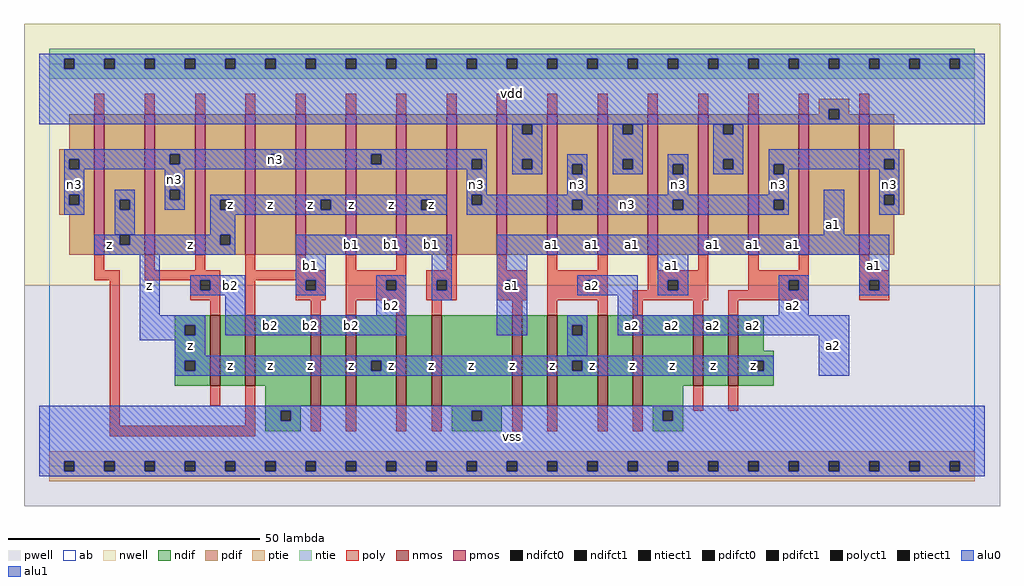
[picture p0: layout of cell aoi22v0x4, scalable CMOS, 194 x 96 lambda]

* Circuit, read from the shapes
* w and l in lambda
.subckt aoi22v0x4 a1 a2 b1 b2 n3 vdd vss z
M1 n1 b2 z vss nfet w=14 l=2
M2 vss b1 n1 vss nfet w=14 l=2
M3 n2 b1 vss vss nfet w=18 l=2
M4 z b2 n2 vss nfet w=18 l=2
M5 n4 b2 z vss nfet w=18 l=2
M6 vss b1 n4 vss nfet w=18 l=2
M7 n5 a1 vss vss nfet w=18 l=2
M8 z a2 n5 vss nfet w=18 l=2
M9 n6 a2 z vss nfet w=18 l=2
M10 vss a1 n6 vss nfet w=18 l=2
M11 n7 a1 vss vss nfet w=14 l=2
M12 z a2 n7 vss nfet w=14 l=2
M13 z b1 n3 vdd pfet w=28 l=2 m=4
M14 n3 b2 z vdd pfet w=28 l=2 m=4
M15 vdd a1 n3 vdd pfet w=28 l=2 m=4
M16 n3 a2 vdd vdd pfet w=28 l=2 m=4
.ends

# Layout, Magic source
magic
tech scmos
<< ab >>
rect 0 0 184 80
<< nwell >>
rect -5 36 189 88
<< pwell >>
rect -5 -8 189 36
<< poly >>
rect 9 70 11 74
rect 19 70 21 74
rect 29 70 31 74
rect 39 70 41 74
rect 49 70 51 74
rect 59 70 61 74
rect 69 70 71 74
rect 79 70 81 74
rect 89 70 91 74
rect 99 70 101 74
rect 109 70 111 74
rect 119 70 121 74
rect 129 70 131 74
rect 139 70 141 74
rect 149 70 151 74
rect 161 70 163 74
rect 9 39 11 42
rect 19 39 21 42
rect 29 39 31 42
rect 39 39 41 42
rect 49 39 51 42
rect 59 39 61 42
rect 69 39 71 42
rect 79 39 81 42
rect 9 37 14 39
rect 19 37 34 39
rect 12 8 14 37
rect 28 35 30 37
rect 32 35 34 37
rect 28 33 34 35
rect 32 30 34 33
rect 39 37 55 39
rect 39 30 41 37
rect 49 35 51 37
rect 53 35 55 37
rect 49 33 55 35
rect 59 37 71 39
rect 59 35 67 37
rect 69 35 71 37
rect 59 33 71 35
rect 75 37 81 39
rect 75 35 77 37
rect 79 35 81 37
rect 75 33 81 35
rect 89 39 91 42
rect 99 39 101 42
rect 109 39 111 42
rect 89 37 95 39
rect 89 35 91 37
rect 93 35 95 37
rect 89 33 95 35
rect 99 37 111 39
rect 99 35 107 37
rect 109 35 111 37
rect 119 39 121 42
rect 129 39 131 42
rect 119 37 131 39
rect 119 35 123 37
rect 125 35 131 37
rect 139 39 141 42
rect 149 39 151 42
rect 139 37 151 39
rect 139 35 147 37
rect 149 35 151 37
rect 99 33 111 35
rect 52 30 54 33
rect 59 30 61 33
rect 69 30 71 33
rect 76 30 78 33
rect 92 30 94 33
rect 99 30 101 33
rect 109 30 111 33
rect 116 33 131 35
rect 135 33 151 35
rect 161 39 163 42
rect 161 37 167 39
rect 161 35 163 37
rect 165 35 167 37
rect 161 33 167 35
rect 116 30 118 33
rect 128 30 130 33
rect 135 30 137 33
rect 32 12 34 16
rect 39 8 41 16
rect 12 6 41 8
rect 52 7 54 12
rect 59 7 61 12
rect 69 7 71 12
rect 76 7 78 12
rect 92 7 94 12
rect 99 7 101 12
rect 109 7 111 12
rect 116 7 118 12
rect 128 11 130 16
rect 135 11 137 16
<< ndif >>
rect 25 28 32 30
rect 25 26 27 28
rect 29 26 32 28
rect 25 21 32 26
rect 25 19 27 21
rect 29 19 32 21
rect 25 16 32 19
rect 34 16 39 30
rect 41 16 52 30
rect 43 12 52 16
rect 54 12 59 30
rect 61 21 69 30
rect 61 19 64 21
rect 66 19 69 21
rect 61 12 69 19
rect 71 12 76 30
rect 78 12 92 30
rect 94 12 99 30
rect 101 28 109 30
rect 101 26 104 28
rect 106 26 109 28
rect 101 21 109 26
rect 101 19 104 21
rect 106 19 109 21
rect 101 12 109 19
rect 111 12 116 30
rect 118 16 128 30
rect 130 16 135 30
rect 137 23 142 30
rect 137 21 144 23
rect 137 19 140 21
rect 142 19 144 21
rect 137 16 144 19
rect 118 12 126 16
rect 43 11 50 12
rect 43 9 46 11
rect 48 9 50 11
rect 43 7 50 9
rect 80 11 90 12
rect 80 9 84 11
rect 86 9 90 11
rect 80 7 90 9
rect 120 11 126 12
rect 120 9 122 11
rect 124 9 126 11
rect 120 7 126 9
<< pdif >>
rect 153 71 159 73
rect 153 70 155 71
rect 4 63 9 70
rect 2 61 9 63
rect 2 59 4 61
rect 6 59 9 61
rect 2 54 9 59
rect 2 52 4 54
rect 6 52 9 54
rect 2 50 9 52
rect 4 42 9 50
rect 11 53 19 70
rect 11 51 14 53
rect 16 51 19 53
rect 11 46 19 51
rect 11 44 14 46
rect 16 44 19 46
rect 11 42 19 44
rect 21 62 29 70
rect 21 60 24 62
rect 26 60 29 62
rect 21 55 29 60
rect 21 53 24 55
rect 26 53 29 55
rect 21 42 29 53
rect 31 53 39 70
rect 31 51 34 53
rect 36 51 39 53
rect 31 46 39 51
rect 31 44 34 46
rect 36 44 39 46
rect 31 42 39 44
rect 41 62 49 70
rect 41 60 44 62
rect 46 60 49 62
rect 41 42 49 60
rect 51 53 59 70
rect 51 51 54 53
rect 56 51 59 53
rect 51 42 59 51
rect 61 62 69 70
rect 61 60 64 62
rect 66 60 69 62
rect 61 42 69 60
rect 71 53 79 70
rect 71 51 74 53
rect 76 51 79 53
rect 71 42 79 51
rect 81 61 89 70
rect 81 59 84 61
rect 86 59 89 61
rect 81 54 89 59
rect 81 52 84 54
rect 86 52 89 54
rect 81 42 89 52
rect 91 68 99 70
rect 91 66 94 68
rect 96 66 99 68
rect 91 61 99 66
rect 91 59 94 61
rect 96 59 99 61
rect 91 42 99 59
rect 101 60 109 70
rect 101 58 104 60
rect 106 58 109 60
rect 101 53 109 58
rect 101 51 104 53
rect 106 51 109 53
rect 101 42 109 51
rect 111 68 119 70
rect 111 66 114 68
rect 116 66 119 68
rect 111 61 119 66
rect 111 59 114 61
rect 116 59 119 61
rect 111 42 119 59
rect 121 60 129 70
rect 121 58 124 60
rect 126 58 129 60
rect 121 53 129 58
rect 121 51 124 53
rect 126 51 129 53
rect 121 42 129 51
rect 131 68 139 70
rect 131 66 134 68
rect 136 66 139 68
rect 131 61 139 66
rect 131 59 134 61
rect 136 59 139 61
rect 131 42 139 59
rect 141 60 149 70
rect 141 58 144 60
rect 146 58 149 60
rect 141 53 149 58
rect 141 51 144 53
rect 146 51 149 53
rect 141 42 149 51
rect 151 69 155 70
rect 157 70 159 71
rect 157 69 161 70
rect 151 42 161 69
rect 163 63 168 70
rect 163 61 170 63
rect 163 59 166 61
rect 168 59 170 61
rect 163 54 170 59
rect 163 52 166 54
rect 168 52 170 54
rect 163 50 170 52
rect 163 42 168 50
<< alu1 >>
rect -2 81 186 82
rect -2 79 3 81
rect 5 79 11 81
rect 13 79 19 81
rect 21 79 27 81
rect 29 79 35 81
rect 37 79 43 81
rect 45 79 51 81
rect 53 79 59 81
rect 61 79 67 81
rect 69 79 75 81
rect 77 79 83 81
rect 85 79 91 81
rect 93 79 99 81
rect 101 79 107 81
rect 109 79 115 81
rect 117 79 123 81
rect 125 79 131 81
rect 133 79 139 81
rect 141 79 147 81
rect 149 79 155 81
rect 157 79 163 81
rect 165 79 171 81
rect 173 79 179 81
rect 181 79 186 81
rect -2 71 186 79
rect -2 69 155 71
rect 157 69 186 71
rect -2 68 186 69
rect 32 53 79 54
rect 32 51 34 53
rect 36 51 54 53
rect 56 51 74 53
rect 76 51 79 53
rect 32 50 79 51
rect 32 46 37 50
rect 154 46 158 55
rect 9 44 14 46
rect 16 44 34 46
rect 36 44 37 46
rect 9 42 37 44
rect 49 42 80 46
rect 18 30 22 42
rect 28 37 39 38
rect 28 35 30 37
rect 32 35 39 37
rect 28 34 39 35
rect 49 37 55 42
rect 49 35 51 37
rect 53 35 55 37
rect 49 34 55 35
rect 65 37 71 38
rect 65 35 67 37
rect 69 35 71 37
rect 35 30 39 34
rect 65 30 71 35
rect 76 37 80 42
rect 76 35 77 37
rect 79 35 80 37
rect 76 33 80 35
rect 89 42 167 46
rect 89 37 95 42
rect 89 35 91 37
rect 93 35 95 37
rect 18 28 31 30
rect 18 26 27 28
rect 29 26 31 28
rect 35 26 71 30
rect 89 26 95 35
rect 105 37 117 38
rect 105 35 107 37
rect 109 35 117 37
rect 105 34 117 35
rect 121 37 127 42
rect 121 35 123 37
rect 125 35 127 37
rect 121 34 127 35
rect 145 37 151 38
rect 145 35 147 37
rect 149 35 151 37
rect 113 30 117 34
rect 145 30 151 35
rect 161 37 167 42
rect 161 35 163 37
rect 165 35 167 37
rect 161 34 167 35
rect 113 26 159 30
rect 18 25 31 26
rect 25 22 31 25
rect 25 21 144 22
rect 25 19 27 21
rect 29 19 64 21
rect 66 19 104 21
rect 106 19 140 21
rect 142 19 144 21
rect 25 18 144 19
rect 153 18 159 26
rect -2 11 186 12
rect -2 9 46 11
rect 48 9 84 11
rect 86 9 122 11
rect 124 9 186 11
rect -2 1 186 9
rect -2 -1 3 1
rect 5 -1 11 1
rect 13 -1 19 1
rect 21 -1 27 1
rect 29 -1 35 1
rect 37 -1 43 1
rect 45 -1 51 1
rect 53 -1 59 1
rect 61 -1 67 1
rect 69 -1 75 1
rect 77 -1 83 1
rect 85 -1 91 1
rect 93 -1 99 1
rect 101 -1 107 1
rect 109 -1 115 1
rect 117 -1 123 1
rect 125 -1 131 1
rect 133 -1 139 1
rect 141 -1 147 1
rect 149 -1 155 1
rect 157 -1 163 1
rect 165 -1 171 1
rect 173 -1 179 1
rect 181 -1 186 1
rect -2 -2 186 -1
<< ptie >>
rect 0 1 184 3
rect 0 -1 3 1
rect 5 -1 11 1
rect 13 -1 19 1
rect 21 -1 27 1
rect 29 -1 35 1
rect 37 -1 43 1
rect 45 -1 51 1
rect 53 -1 59 1
rect 61 -1 67 1
rect 69 -1 75 1
rect 77 -1 83 1
rect 85 -1 91 1
rect 93 -1 99 1
rect 101 -1 107 1
rect 109 -1 115 1
rect 117 -1 123 1
rect 125 -1 131 1
rect 133 -1 139 1
rect 141 -1 147 1
rect 149 -1 155 1
rect 157 -1 163 1
rect 165 -1 171 1
rect 173 -1 179 1
rect 181 -1 184 1
rect 0 -3 184 -1
<< ntie >>
rect 0 81 184 83
rect 0 79 3 81
rect 5 79 11 81
rect 13 79 19 81
rect 21 79 27 81
rect 29 79 35 81
rect 37 79 43 81
rect 45 79 51 81
rect 53 79 59 81
rect 61 79 67 81
rect 69 79 75 81
rect 77 79 83 81
rect 85 79 91 81
rect 93 79 99 81
rect 101 79 107 81
rect 109 79 115 81
rect 117 79 123 81
rect 125 79 131 81
rect 133 79 139 81
rect 141 79 147 81
rect 149 79 155 81
rect 157 79 163 81
rect 165 79 171 81
rect 173 79 179 81
rect 181 79 184 81
rect 0 77 184 79
<< nmos >>
rect 32 16 34 30
rect 39 16 41 30
rect 52 12 54 30
rect 59 12 61 30
rect 69 12 71 30
rect 76 12 78 30
rect 92 12 94 30
rect 99 12 101 30
rect 109 12 111 30
rect 116 12 118 30
rect 128 16 130 30
rect 135 16 137 30
<< pmos >>
rect 9 42 11 70
rect 19 42 21 70
rect 29 42 31 70
rect 39 42 41 70
rect 49 42 51 70
rect 59 42 61 70
rect 69 42 71 70
rect 79 42 81 70
rect 89 42 91 70
rect 99 42 101 70
rect 109 42 111 70
rect 119 42 121 70
rect 129 42 131 70
rect 139 42 141 70
rect 149 42 151 70
rect 161 42 163 70
<< polyct1 >>
rect 30 35 32 37
rect 51 35 53 37
rect 67 35 69 37
rect 77 35 79 37
rect 91 35 93 37
rect 107 35 109 37
rect 123 35 125 37
rect 147 35 149 37
rect 163 35 165 37
<< ndifct0 >>
rect 104 26 106 28
<< ndifct1 >>
rect 27 26 29 28
rect 27 19 29 21
rect 64 19 66 21
rect 104 19 106 21
rect 140 19 142 21
rect 46 9 48 11
rect 84 9 86 11
rect 122 9 124 11
<< ntiect1 >>
rect 3 79 5 81
rect 11 79 13 81
rect 19 79 21 81
rect 27 79 29 81
rect 35 79 37 81
rect 43 79 45 81
rect 51 79 53 81
rect 59 79 61 81
rect 67 79 69 81
rect 75 79 77 81
rect 83 79 85 81
rect 91 79 93 81
rect 99 79 101 81
rect 107 79 109 81
rect 115 79 117 81
rect 123 79 125 81
rect 131 79 133 81
rect 139 79 141 81
rect 147 79 149 81
rect 155 79 157 81
rect 163 79 165 81
rect 171 79 173 81
rect 179 79 181 81
<< ptiect1 >>
rect 3 -1 5 1
rect 11 -1 13 1
rect 19 -1 21 1
rect 27 -1 29 1
rect 35 -1 37 1
rect 43 -1 45 1
rect 51 -1 53 1
rect 59 -1 61 1
rect 67 -1 69 1
rect 75 -1 77 1
rect 83 -1 85 1
rect 91 -1 93 1
rect 99 -1 101 1
rect 107 -1 109 1
rect 115 -1 117 1
rect 123 -1 125 1
rect 131 -1 133 1
rect 139 -1 141 1
rect 147 -1 149 1
rect 155 -1 157 1
rect 163 -1 165 1
rect 171 -1 173 1
rect 179 -1 181 1
<< pdifct0 >>
rect 4 59 6 61
rect 4 52 6 54
rect 14 51 16 53
rect 24 60 26 62
rect 24 53 26 55
rect 44 60 46 62
rect 64 60 66 62
rect 84 59 86 61
rect 84 52 86 54
rect 94 66 96 68
rect 94 59 96 61
rect 104 58 106 60
rect 104 51 106 53
rect 114 66 116 68
rect 114 59 116 61
rect 124 58 126 60
rect 124 51 126 53
rect 134 66 136 68
rect 134 59 136 61
rect 144 58 146 60
rect 144 51 146 53
rect 166 59 168 61
rect 166 52 168 54
<< pdifct1 >>
rect 14 44 16 46
rect 34 51 36 53
rect 34 44 36 46
rect 54 51 56 53
rect 74 51 76 53
rect 155 69 157 71
<< alu0 >>
rect 92 66 94 68
rect 96 66 98 68
rect 3 62 87 63
rect 3 61 24 62
rect 3 59 4 61
rect 6 60 24 61
rect 26 60 44 62
rect 46 60 64 62
rect 66 61 87 62
rect 66 60 84 61
rect 6 59 84 60
rect 86 59 87 61
rect 3 54 7 59
rect 23 55 27 59
rect 3 52 4 54
rect 6 52 7 54
rect 3 50 7 52
rect 13 53 17 55
rect 13 51 14 53
rect 16 51 17 53
rect 23 53 24 55
rect 26 53 27 55
rect 83 54 87 59
rect 92 61 98 66
rect 112 66 114 68
rect 116 66 118 68
rect 92 59 94 61
rect 96 59 98 61
rect 92 58 98 59
rect 103 60 107 62
rect 103 58 104 60
rect 106 58 107 60
rect 112 61 118 66
rect 132 66 134 68
rect 136 66 138 68
rect 112 59 114 61
rect 116 59 118 61
rect 112 58 118 59
rect 123 60 127 62
rect 123 58 124 60
rect 126 58 127 60
rect 132 61 138 66
rect 132 59 134 61
rect 136 59 138 61
rect 132 58 138 59
rect 143 61 169 63
rect 143 60 166 61
rect 143 58 144 60
rect 146 59 166 60
rect 168 59 169 61
rect 146 58 147 59
rect 103 54 107 58
rect 123 54 127 58
rect 143 54 147 58
rect 23 51 27 53
rect 13 46 17 51
rect 83 52 84 54
rect 86 53 147 54
rect 86 52 104 53
rect 83 51 104 52
rect 106 51 124 53
rect 126 51 144 53
rect 146 51 147 53
rect 83 50 147 51
rect 165 54 169 59
rect 165 52 166 54
rect 168 52 169 54
rect 165 50 169 52
rect 103 28 107 30
rect 103 26 104 28
rect 106 26 107 28
rect 103 22 107 26
<< labels >>
rlabel alu0 5 56 5 56 6 n3
rlabel alu0 25 57 25 57 6 n3
rlabel alu0 105 56 105 56 6 n3
rlabel alu0 85 56 85 56 6 n3
rlabel pdifct0 45 61 45 61 6 n3
rlabel alu0 125 56 125 56 6 n3
rlabel alu0 167 56 167 56 6 n3
rlabel alu0 145 56 145 56 6 n3
rlabel alu0 115 52 115 52 6 n3
rlabel alu1 28 24 28 24 6 z
rlabel alu1 28 44 28 44 6 z
rlabel alu1 20 36 20 36 6 z
rlabel alu1 12 44 12 44 6 z
rlabel alu1 36 20 36 20 6 z
rlabel alu1 60 28 60 28 6 b2
rlabel alu1 68 20 68 20 6 z
rlabel alu1 60 20 60 20 6 z
rlabel alu1 52 28 52 28 6 b2
rlabel alu1 44 28 44 28 6 b2
rlabel alu1 44 20 44 20 6 z
rlabel alu1 52 20 52 20 6 z
rlabel alu1 68 32 68 32 6 b2
rlabel alu1 36 36 36 36 6 b2
rlabel alu1 60 44 60 44 6 b1
rlabel alu1 68 44 68 44 6 b1
rlabel alu1 52 40 52 40 6 b1
rlabel alu1 52 52 52 52 6 z
rlabel alu1 44 52 44 52 6 z
rlabel alu1 60 52 60 52 6 z
rlabel alu1 68 52 68 52 6 z
rlabel alu1 36 52 36 52 6 z
rlabel alu1 92 6 92 6 6 vss
rlabel alu1 76 20 76 20 6 z
rlabel alu1 100 20 100 20 6 z
rlabel alu1 108 20 108 20 6 z
rlabel alu1 92 20 92 20 6 z
rlabel alu1 84 20 84 20 6 z
rlabel alu1 76 44 76 44 6 b1
rlabel polyct1 92 36 92 36 6 a1
rlabel alu1 108 44 108 44 6 a1
rlabel alu1 100 44 100 44 6 a1
rlabel polyct1 108 36 108 36 6 a2
rlabel alu1 76 52 76 52 6 z
rlabel alu1 92 74 92 74 6 vdd
rlabel alu1 124 28 124 28 6 a2
rlabel alu1 140 28 140 28 6 a2
rlabel alu1 132 28 132 28 6 a2
rlabel alu1 132 20 132 20 6 z
rlabel alu1 140 20 140 20 6 z
rlabel alu1 124 20 124 20 6 z
rlabel alu1 116 28 116 28 6 a2
rlabel alu1 116 20 116 20 6 z
rlabel alu1 124 40 124 40 6 a1
rlabel alu1 140 44 140 44 6 a1
rlabel alu1 132 44 132 44 6 a1
rlabel alu1 116 44 116 44 6 a1
rlabel alu1 156 24 156 24 6 a2
rlabel alu1 148 32 148 32 6 a2
rlabel alu1 148 44 148 44 6 a1
rlabel alu1 164 40 164 40 6 a1
rlabel alu1 156 48 156 48 6 a1
<< end >>
